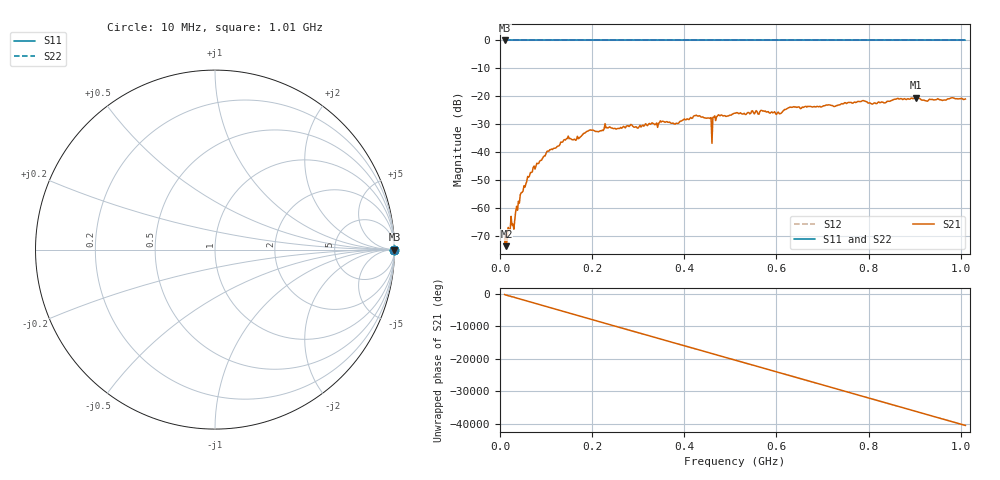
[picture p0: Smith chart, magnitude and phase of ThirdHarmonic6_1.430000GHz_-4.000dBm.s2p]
! 8/16/2025 4:28:53 PM
! C:\ANRITSUVNA\TEMP\TEMP.S2P
! CHANNEL.1
! TR.MEASUREMENT
! RAW.DATA
! RF.CORRECTION.OFF
! AVERAGING.OFF
! IF.BANDWIDTH: 5KHZ
! SWEEPTYPE:  FREQ.SWEEP(Linear)
! Reference Plane Port Info
! PORT:  PORT1  PORT2
! DISTANCE:  0  m  0  m
! TIME:  0  s  0  s
! PHASE.OFFSET:  0  deg.  0  deg.
! LOSS:  0  dB  0  dB
! REF.LOSS:  0  dB  0  dB
! REF.FREQ:  0  Hz  0  Hz
! Power Info
! POWER:  -20  dBm  -20  dBm
! EFF.POWER:  -20  dBm  -20  dBm
! SOURCE.ATTEN:  0  dB  0  dB
! TEST.ATTEN:  0  dB  0  dB
# GHZ S RI R 50.0
! FREQ.GHZ  S11RE  S11IM  S21RE  S21IM  S12RE  S12IM  S22RE  S22IM
!; PortSelection: Port_12
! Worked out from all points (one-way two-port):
!   501 points, 10 MHz to 1.01 GHz, reference 50 ohm
!   highest |S21| = -20.46 dB at 902 MHz (marker M1); lowest = -73.7 dB at 14 MHz (marker M2)
!   lowest |S11| = 0.0 dB at 10 MHz (marker M3)
!   |S11| at or under -10 dB: nowhere
!   |S22| runs from 0.0 to 0.0 dB; largest |S21 - S12| = 1.1
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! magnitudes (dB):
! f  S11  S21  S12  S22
! 10 MHz  0.0  -72.8  0.0  0.0
! 14 MHz  0.0  -73.7  0.0  0.0
! 30 MHz  0.0  -67.6  0.0  0.0
! 48 MHz  0.0  -54.4  0.0  0.0
! 76 MHz  0.0  -46.1  0.0  0.0
! 104 MHz  0.0  -39.6  0.0  0.0
! 144 MHz  0.0  -35.2  0.0  0.0
! 178 MHz  0.0  -34.0  0.0  0.0
! 232 MHz  0.0  -31.2  0.0  0.0
! 344 MHz  0.0  -29.7  0.0  0.0
! 384 MHz  0.0  -29.7  0.0  0.0
! 424 MHz  0.0  -26.9  0.0  0.0
! 464 MHz  0.0  -27.5  0.0  0.0
! 466 MHz  0.0  -27.0  0.0  0.0
! 474 MHz  0.0  -26.6  0.0  0.0
! 510 MHz  0.0  -26.0  0.0  0.0
! 604 MHz  0.0  -25.7  0.0  0.0
! 630 MHz  0.0  -23.9  0.0  0.0
! 678 MHz  0.0  -23.9  0.0  0.0
! 844 MHz  0.0  -21.8  0.0  0.0
! 902 MHz  0.0  -20.5  0.0  0.0
! 1.01 GHz  0.0  -21.0  0.0  0.0
